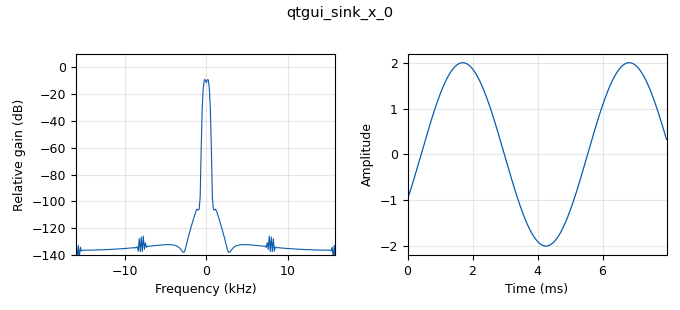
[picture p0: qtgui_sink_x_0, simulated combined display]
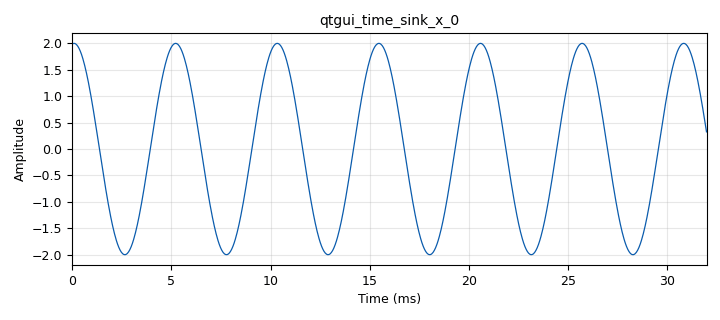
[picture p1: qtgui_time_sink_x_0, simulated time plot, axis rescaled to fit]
<?xml version='1.0' encoding='utf-8'?>
<?grc format='1' created='3.7.11'?>
<flow_graph>
<block>
<key>options</key>
<param><key>id</key><value>top_block</value></param>
<param><key>generate_options</key><value>qt_gui</value></param>
</block>
<block>
<key>variable</key>
<param><key>id</key><value>samp_rate</value></param>
<param><key>value</key><value>32000</value></param>
</block>
<block>
<key>audio_sink</key>
<param><key>id</key><value>audio_sink_0</value></param>
<param><key>samp_rate</key><value>samp_rate</value></param>
</block>
<block>
<key>blocks_repeat</key>
<param><key>id</key><value>blocks_repeat_0</value></param>
<param><key>interp</key><value>24000</value></param>
<param><key>type</key><value>float</value></param>
</block>
<block>
<key>blocks_vco_f</key>
<param><key>id</key><value>blocks_vco_f_0</value></param>
<param><key>amplitude</key><value>2</value></param>
<param><key>samp_rate</key><value>48000</value></param>
<param><key>sensitivity</key><value>6.28</value></param>
</block>
<block>
<key>blocks_vector_source_x</key>
<param><key>id</key><value>blocks_vector_source_x_0</value></param>
<param><key>type</key><value>float</value></param>
<param><key>repeat</key><value>True</value></param>
<param><key>vector</key><value>(262, 262, 293, 262, 349, 330, 262, 262, 293, 262, 392, 349, 262, 262, 523, 440, 392, 349, 330, 466, 466, 440, 349, 392, 349)</value></param>
</block>
<block>
<key>qtgui_sink_x</key>
<param><key>id</key><value>qtgui_sink_x_0</value></param>
<param><key>bw</key><value>samp_rate</value></param>
<param><key>fc</key><value>0</value></param>
<param><key>freqchangevar</key><value>None</value></param>
<param><key>fftsize</key><value>256</value></param>
<param><key>showports</key><value>True</value></param>
<param><key>type</key><value>float</value></param>
<param><key>wintype</key><value>firdes.WIN_BLACKMAN_hARRIS</value></param>
</block>
<block>
<key>qtgui_time_sink_x</key>
<param><key>id</key><value>qtgui_time_sink_x_0</value></param>
<param><key>color1</key><value>"blue"</value></param>
<param><key>label1</key><value></value></param>
<param><key>size</key><value>1024</value></param>
<param><key>srate</key><value>samp_rate</value></param>
<param><key>type</key><value>float</value></param>
</block>
<connection><source_block_id>blocks_repeat_0</source_block_id><sink_block_id>blocks_vco_f_0</sink_block_id><source_key>0</source_key><sink_key>0</sink_key></connection>
<connection><source_block_id>blocks_vco_f_0</source_block_id><sink_block_id>audio_sink_0</sink_block_id><source_key>0</source_key><sink_key>0</sink_key></connection>
<connection><source_block_id>blocks_vco_f_0</source_block_id><sink_block_id>qtgui_sink_x_0</sink_block_id><source_key>0</source_key><sink_key>0</sink_key></connection>
<connection><source_block_id>blocks_vco_f_0</source_block_id><sink_block_id>qtgui_time_sink_x_0</sink_block_id><source_key>0</source_key><sink_key>0</sink_key></connection>
<connection><source_block_id>blocks_vector_source_x_0</source_block_id><sink_block_id>blocks_repeat_0</sink_block_id><source_key>0</source_key><sink_key>0</sink_key></connection>
</flow_graph>
